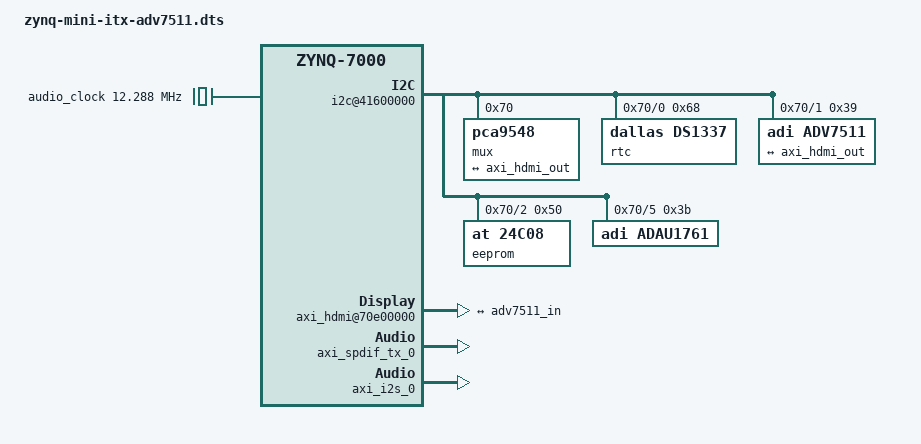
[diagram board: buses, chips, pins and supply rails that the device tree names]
/*
 *  Copyright (C) 2015 Xilinx
 *  Copyright (C) 2015 WindRiver Corp.
 *
 * This software is licensed under the terms of the GNU General Public
 * License version 2, as published by the Free Software Foundation, and
 * may be copied, distributed, and modified under those terms.
 *
 * This program is distributed in the hope that it will be useful,
 * but WITHOUT ANY WARRANTY; without even the implied warranty of
 * MERCHANTABILITY or FITNESS FOR A PARTICULAR PURPOSE.  See the
 * GNU General Public License for more details.
 */

/dts-v1/;
/include/ "zynq-mini-itx.dtsi"

/ {
	compatible = "xlnx,zynq-7000", "xlnx,mini-itx";

	fpag-axi@0 {
		compatible = "simple-bus";
		#address-cells = <0x1>;
		#size-cells = <0x1>;
		ranges;

		i2c@41600000 {
			compatible = "xlnx,axi-iic-1.02.a", "xlnx,xps-iic-2.00.a";
			status = "okay";
			clocks = <&clkc 15>;
			interrupt-parent = <&intc>;
			interrupts = <0 58 4>;
			reg = <0x41600000 0x10000>;
			bus-id = <0>;
			#address-cells = <1>;
			#size-cells = <0>;

			mux@70 {
				compatible = "pca9548";
				reg = <0x70>;
				#address-cells = <1>;
				#size-cells = <0>;

				i2c@0 {
					#size-cells = <0>;
					#address-cells = <1>;
					reg = <0>;

					rtc@68 {
						compatible = "dallas,ds1337";
						reg = <0x68>;
					};
				};

				i2c@1 {
					#address-cells = <1>;
					#size-cells = <0>;
					reg = <1>;

					adv7511: adv7511 {
						compatible = "adi,adv7511";
						reg = <0x39>, <0x3f>;
						reg-names = "primary", "edid";

						adi,input-depth = <8>;
						adi,input-colorspace = "yuv422";
						adi,input-clock = "1x";
						adi,input-style = <1>;
						adi,input-justification = "right";
						adi,clock-delay = <0>;

						#sound-dai-cells = <0>;

						ports {
							#address-cells = <1>;
							#size-cells = <0>;

							port@0 {
								reg = <0>;
								adv7511_in: endpoint {
									remote-endpoint = <&axi_hdmi_out>;
								};
							};

							port@1 {
								reg = <1>;
							};
						};
					};
				};

				i2c@2 {
					#address-cells = <1>;
					#size-cells = <0>;
					reg = <2>;
					eeprom@50 {
						compatible = "at,24c08";
						reg = <0x50>;
					};
				};

				i2c@5 {
					#size-cells = <0>;
					#address-cells = <1>;
					reg = <5>;

					adau1761: adau1761@3b {
						compatible = "adi,adau1761";
						reg = <0x3b>;

						clocks = <&audio_clock>;
						clock-names = "mclk";

						#sound-dai-cells = <0>;
					};
				};
			};

		};

		axi_vdma_0: axivdma@43000000 {
			#address-cells = <1>;
			#size-cells = <1>;
			#dma-cells = <1>;
                        clock-names = "s_axi_lite_aclk", "m_axi_mm2s_aclk", "m_axi_mm2s_aclk", "m_axi_s2mm_aclk", "m_axi_s2mm_aclk";
                        clocks = <&clkc 15>, <&clkc 15>, <&clkc 15>, <&clkc 15>, <&clkc 15>;
			compatible = "xlnx,axi-vdma-1.00.a";
			reg = <0x43000000 0x1000>;
			xlnx,flush-fsync = <0x1>;
			xlnx,num-fstores = <0x3>;
			interrupt-parent = <&intc>;
			dma-channel@43000000 {
				compatible = "xlnx,axi-vdma-mm2s-channel";
				interrupts = <0 59 0x4>;
				xlnx,datawidth = <0x40>;
				xlnx,genlock-mode = <0x0>;
				xlnx,include-dre = <0x0>;
				xlnx,fstore-enable = <0x1>;
			};
		};

		hdmi_clock: axi-clkgen@79000000 {
			compatible = "adi,axi-clkgen-2.00.a";
			reg = <0x79000000 0x10000>;
			#clock-cells = <0>;
			clocks = <&clkc 16>;
		};

		axi_hdmi@70e00000 {
			compatible = "adi,axi-hdmi-tx-1.00.a";
			reg = <0x70e00000 0x10000>;
			dmas = <&axi_vdma_0 0>;
			dma-names = "video";
			clocks = <&hdmi_clock>;
			adi,is-rgb;

			port {
				axi_hdmi_out: endpoint {
					remote-endpoint = <&adv7511_in>;
				};
			};
		};

		axi_spdif_tx_0: axi-spdif-tx@75c00000 {
			compatible = "adi,axi-spdif-tx-1.00.a";
			reg = <0x75c00000 0x1000>;
			dmas = <&dmac_s 0>;
			dma-names = "tx";
			clocks = <&clkc 15>, <&audio_clock>, <&audio_clock>;
			clock-names = "axi", "ref", "spdif";

			#sound-dai-cells = <0>;
		};

		axi_i2s_0: axi-i2s@77600000 {
			compatible = "adi,axi-i2s-1.00.a";
			reg = <0x77600000 0x1000>;
			dmas = <&dmac_s 1 &dmac_s 2>;
			dma-names = "tx", "rx";
			clocks = <&clkc 15>, <&audio_clock>, <&audio_clock>;
			clock-names = "axi", "ref", "i2s";

			#sound-dai-cells = <0>;
		};
	};

	audio_clock: audio_clock {
		compatible = "fixed-clock";
		#clock-cells = <0>;
		clock-frequency = <12288000>;
	};

	adv7511_hdmi_snd {
		compatible = "simple-audio-card";
		simple-audio-card,name = "HDMI monitor";
		simple-audio-card,widgets =
			"Speaker", "Speaker";
		simple-audio-card,routing =
			"Speaker", "TX";

		simple-audio-card,dai-link@0 {
			format = "spdif";
			cpu {
				sound-dai = <&axi_spdif_tx_0>;
				frame-master;
				bitclock-master;
			};
			codec {
				sound-dai = <&adv7511>;
			};
		};
	};

	zed_sound {
		compatible = "simple-audio-card";
		simple-audio-card,name = "ZED ADAU1761";
		simple-audio-card,widgets =
			"Microphone", "Mic In",
			"Headphone", "Headphone Out",
			"Line", "Line In",
			"Line", "Line Out";
		simple-audio-card,routing =
			"Line Out", "LOUT",
			"Line Out", "ROUT",
			"Headphone Out", "LHP",
			"Headphone Out", "RHP",
			"Mic In", "MICBIAS",
			"LINN", "Mic In",
			"RINN", "Mic In",
			"LAUX", "Line In",
			"RAUX", "Line In";

		simple-audio-card,dai-link@0 {
			format = "i2s";
			cpu {
				sound-dai = <&axi_i2s_0>;
				frame-master;
				bitclock-master;
			};
			codec {
				sound-dai = <&adau1761>;
			};
		};
	};
};

&clkc {
	fclk-enable = <0xf>;
	ps-clk-frequency = <33333333>;
};
